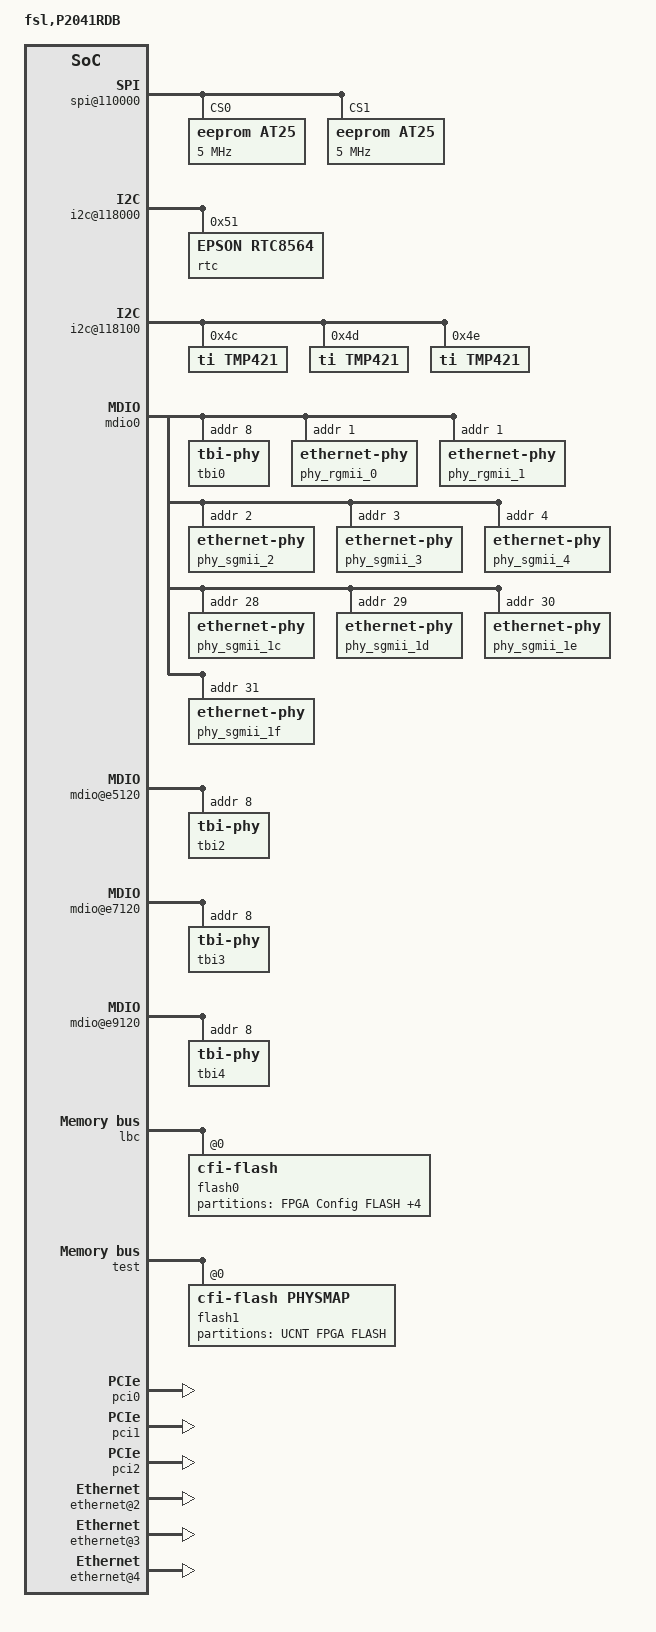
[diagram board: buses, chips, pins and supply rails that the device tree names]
/*
 * ULP (L100) Device Tree Source
 *
 * Copyright 2011-2012 Freescale Semiconductor Inc.
 *
 * Redistribution and use in source and binary forms, with or without
 * modification, are permitted provided that the following conditions are met:
 *     * Redistributions of source code must retain the above copyright
 *	 notice, this list of conditions and the following disclaimer.
 *     * Redistributions in binary form must reproduce the above copyright
 *	 notice, this list of conditions and the following disclaimer in the
 *	 documentation and/or other materials provided with the distribution.
 *     * Neither the name of Freescale Semiconductor nor the
 *	 names of its contributors may be used to endorse or promote products
 *	 derived from this software without specific prior written permission.
 *
 *
 * ALTERNATIVELY, this software may be distributed under the terms of the
 * GNU General Public License ("GPL") as published by the Free Software
 * Foundation, either version 2 of that License or (at your option) any
 * later version.
 *
 * THIS SOFTWARE IS PROVIDED BY Freescale Semiconductor ``AS IS'' AND ANY
 * EXPRESS OR IMPLIED WARRANTIES, INCLUDING, BUT NOT LIMITED TO, THE IMPLIED
 * WARRANTIES OF MERCHANTABILITY AND FITNESS FOR A PARTICULAR PURPOSE ARE
 * DISCLAIMED. IN NO EVENT SHALL Freescale Semiconductor BE LIABLE FOR ANY
 * DIRECT, INDIRECT, INCIDENTAL, SPECIAL, EXEMPLARY, OR CONSEQUENTIAL DAMAGES
 * (INCLUDING, BUT NOT LIMITED TO, PROCUREMENT OF SUBSTITUTE GOODS OR SERVICES;
 * LOSS OF USE, DATA, OR PROFITS; OR BUSINESS INTERRUPTION) HOWEVER CAUSED AND
 * ON ANY THEORY OF LIABILITY, WHETHER IN CONTRACT, STRICT LIABILITY, OR TORT
 * (INCLUDING NEGLIGENCE OR OTHERWISE) ARISING IN ANY WAY OUT OF THE USE OF THIS
 * SOFTWARE, EVEN IF ADVISED OF THE POSSIBILITY OF SUCH DAMAGE.
 */

/include/ "fsl/p2041si-pre.dtsi"

/ {
	model = "fsl,P2041RDB";
	compatible = "fsl,P2041RDB";
	#address-cells = <2>;
	#size-cells = <2>;
	interrupt-parent = <&mpic>;

	aliases {
	pci0 = &pci0;
        pci1 = &pci1;
        msi0 = &msi0;
        msi1 = &msi1;
        msi2 = &msi2;
        
//		ethernet0 = &enet0;
//		ethernet1 = &enet1;
		ethernet2 = &enet2;
		ethernet3 = &enet3;
		ethernet4 = &enet4;
//		ethernet5 = &enet5;
		phy_rgmii_0 = &phy_rgmii_0;
//		phy_rgmii_1 = &phy_rgmii_1;
		phy_sgmii_2 = &phy_sgmii_2;
		phy_sgmii_3 = &phy_sgmii_3;
//		phy_sgmii_4 = &phy_sgmii_4;
//		phy_sgmii_1c = &phy_sgmii_1c;
//		phy_sgmii_1d = &phy_sgmii_1d;
//		phy_sgmii_1e = &phy_sgmii_1e;
//		phy_sgmii_1f = &phy_sgmii_1f;
//		phy_xgmii_2 = &phy_xgmii_2;
	};

	memory {
		device_type = "memory";
	};

	dcsr: dcsr@fc0000000 {
		ranges = <0x00000000 0xf 0xc0000000 0x01008000>;
	};

	bportals: bman-portals@fc1000000 {
		ranges = <0x0 0xf 0xc1000000 0x2000000>;
	};

	qportals: qman-portals@fc3000000 {
		ranges = <0x0 0xf 0xc3000000 0x2000000>;
	};

	soc: soc@ffe000000 {
		ranges = <0x00000000 0xf 0xfe000000 0x1000000>;
		reg = <0xf 0xfe000000 0 0x00001000>;

		spi@110000 {
                        #address-cells = <1>;
                        #size-cells = <0>;
                        compatible = "fsl,p2040-espi", "fsl,mpc8536-espi";
                        reg = <0x110000 0x30>;
                        //interrupts = <53 0x2 0 0>;
                        fsl,espi-num-chipselects = <4>;
                        eeprom@0 {
                                compatible = "eeprom,at25";
                                spi-max-frequency = <5000000>;
                                reg = <0>;
                                size = <8192>;
                                byte-len = <8192>;
                                addr-mode = <2>;
                                pagesize = <32>;
                                address-width = <8>;
                                #address-cells = <1>;
                                #size-cells = <1>;
                        };
                        eeprom@1 {
                                compatible = "eeprom,at25";
                                spi-max-frequency = <5000000>;
                                reg = <1>;
                                size = <8192>;
                                byte-len = <8192>;
                                addr-mode = <2>;
                                pagesize = <32>;
                                address-width = <8>;
                                #address-cells = <1>;
                                #size-cells = <1>;
                        };
		};
		i2c@118000 {
                        rtc@51 {
                                compatible = "EPSON,rtc8564";
                                reg = <0x51>;
                                interrupts = <0x1 0x1 0 0>;
                        };
		};

		i2c@118100 {
                        tmp421@4c {
                                compatible = "ti,tmp421";
                                reg = <0x4c>;
                        };
                        tmp421@4d {
                                compatible = "ti,tmp421";
                                reg = <0x4d>;
                        };
                        tmp421@4e {
                                compatible = "ti,tmp421";
                                reg = <0x4e>;
                        };
		};

		usb1: usb@211000 {
			dr_mode = "host";
		};

		fman0: fman@400000 {
//			enet0: ethernet@e0000 {
//				tbi-handle = <&tbi0>;
//				phy-handle = <&phy_sgmii_2>;
//				phy-connection-type = "sgmii";
//			};

			mdio0: mdio@e1120 {
				tbi0: tbi-phy@8 {
					reg = <0x8>;
					device_type = "tbi-phy";
				};

				phy_rgmii_0: ethernet-phy@0x000001 {
					reg = <0x000001>;
				};
				phy_rgmii_1: ethernet-phy@1 {
					reg = <0x1>;
				};
				phy_sgmii_2: ethernet-phy@2 {
					reg = <0x2>;
				};
				phy_sgmii_3: ethernet-phy@3 {
					reg = <0x3>;
				};
				phy_sgmii_4: ethernet-phy@4 {
					reg = <0x4>;
				};
				phy_sgmii_1c: ethernet-phy@1c {
					reg = <0x1c>;
				};
				phy_sgmii_1d: ethernet-phy@1d {
					reg = <0x1d>;
				};
				phy_sgmii_1e: ethernet-phy@1e {
					reg = <0x1e>;
				};
				phy_sgmii_1f: ethernet-phy@1f {
					reg = <0x1f>;
				};
			};

//			enet1: ethernet@e2000 {
//				tbi-handle = <&tbi1>;
//				phy-handle = <&phy_sgmii_3>;
//				phy-connection-type = "sgmii";
//			};

//			mdio@e3120 {
//				tbi1: tbi-phy@8 {
//					reg = <8>;
//					device_type = "tbi-phy";
//				};
//			};

			enet2: ethernet@e4000 {
				tbi-handle = <&tbi2>;
				phy-handle = <&phy_sgmii_2>;
				phy-connection-type = "sgmii";
			};

			mdio@e5120 {
				tbi2: tbi-phy@8 {
					reg = <8>;
					device_type = "tbi-phy";
				};
			};

			enet3: ethernet@e6000 {
				tbi-handle = <&tbi3>;
				phy-handle = <&phy_sgmii_3>;
				phy-connection-type = "sgmii";
			};

			mdio@e7120 {
				tbi3: tbi-phy@8 {
					reg = <8>;
					device_type = "tbi-phy";
				};
			};

			enet4: ethernet@e8000 {
				tbi-handle = <&tbi4>;
				phy-handle = <&phy_rgmii_0>;
				phy-connection-type = "rgmii";
			};

			mdio@e9120 {
				tbi4: tbi-phy@8 {
					reg = <8>;
					device_type = "tbi-phy";
				};
			};

//			enet5: ethernet@f0000 {
//				/*
//				 * phy-handle will be updated by U-Boot to
//				 * reflect the actual slot the XAUI card is in.
//				 */
//				phy-handle = <&phy_rgmii_0>;
//				phy-connection-type = "rgmii";
//			};
//
//			mdio@f1000 {
//				/* XAUI card in slot 2 */
//				phy_xgmii_2: ethernet-phy@0 {
//					compatible = "ethernet-phy-ieee802.3-c45";
//					reg = <0x0>;
//				};
//			};

		};
		cpu-irq0@0 {
			compatible = "cpu-irq_irq00";
			reg = <0 0>;
			interrupts = <0 1 0 0>;
		};
		cpu-irq1@0 {
			compatible = "cpu-irq_irq01";
			reg = <0 0>;
			interrupts = <1 1 0 0>;
		};
		cpu-irq2@0 {
			compatible = "cpu-irq_irq02";
			reg = <0 0>;
			interrupts = <2 1 0 0>;
		};
		cpu-irq3@0 {
			compatible = "cpu-irq_irq03";
			reg = <0 0>;
			interrupts = <3 1 0 0>;
		};
		cpu-irq4@0 {
			compatible = "cpu-irq_irq04";
			reg = <0 0>;
			interrupts = <4 1 0 0>;
		};
		cpu-irq5@0 {
			compatible = "cpu-irq_irq05";
			reg = <0 0>;
			interrupts = <5 1 0 0>;
		};
		cpu-irq10@0 {
			compatible = "cpu-irq_irq10";
			reg = <0 0>;
			interrupts = <10 1 0 0>;
		};
		cpu-irq11@0 {
			compatible = "cpu-irq_irq11";
			reg = <0 0>;
			interrupts = <11 1 0 0>;
		};
		cpu-irq16@16 {
			compatible = "cpu-errirq";
			reg = <0 0>;
			interrupts = <16 2 1 13>;
		};
	};

	lbc: localbus@ffe124000 {
		reg = <0xf 0xfe124000 0 0x1000>;
		ranges = <0 0 0xf 0xf4000000 0x08000000>;  /* FPGA Config FLASH (64MB) */

                // UBoot Env is at 0xf7f60000 +20000
                // 0x03f60000
                // UBoot is at 0xf7f80000 +80000
                // 0x03f80000
		flash0@0,0 {
			#address-cells = <1>;
			#size-cells = <1>;
			compatible = "cfi-flash";
                        reg = <0 0 0x08000000>;
			bank-width = <2>;
			device-width = <2>;
			
			partition@0 {
				label = "FPGA Config FLASH";
				reg = <0x0 0x03F00000>;
			};
			partition@1 {
				label = "UBoot Environment";
				reg = <0x03F60000 0x20000>;
			};
			partition@2 {
				label = "UBoot Image";
				reg = <0x03F80000 0x80000>;
			};
			partition@3 {
				label = "Unused2";
				reg = <0x03F20000 0x10000>;
			};
			partition@4 {
				label = "MTD OOPS";
				reg = <0x03F00000 0x40000>;
			};
		};
	};

	test: localbus@0 {
//		reg = <0xf 0xfe124000 0 0x1000>;
		ranges = <0 0 0xC 0xA5000000 0x08000000>;  /* UCNT Flash */

		flash1@1,0 {
			#address-cells = <1>;
			#size-cells = <1>;
			compatible = "cfi-flash,physmap";
                        reg = <0 0 0x08000000>;
			bank-width = <2>;
			device-width = <2>;
			
			partition@0 {
				label = "UCNT FPGA FLASH";
				reg = <0x0 0x03F00000>;
			};
		};
	};
	
	// PCI#0 - CDEC
	pci0: pcie@ffe200000 {
                 compatible = "fsl,p2040-pcie", "fsl,qoriq-pcie-v2.2";
                 device_type = "pci";
                 #size-cells = <2>;
                 #address-cells = <3>;
                 bus-range = <0x0 0x10>;
                 clock-frequency = <0x7F28154>;
                 reg = <0xf 0xfe200000 0 0x1000>;
		         ranges = <0x02010000 0x0 0x80000000 0xc 0x80000000 0x0 0x10000000 
		                   0x01010000 0x0 0x00000000 0x0 0xf8000000 0x0 0x00010000>;
                 pcie@0 {
                         reg = <0 0 0 0 0>;
                         #size-cells = <2>;
                         #address-cells = <3>;
                         device_type = "pci";
                         ranges = <0x02010000 0x0 0x80000000 0x02010000 0x0 0x80000000 0x0 0x02000000
                                   0x01010000 0x0 0x00000000 0x01010000 0x0 0x00000000 0x0 0x00010000>;
                 };
        };	

        // PCI#1 - L2SW
	pci1: pcie@ffe201000 {
                 compatible = "fsl,p2040-pcie", "fsl,qoriq-pcie-v2.2";
                 device_type = "pci";
                 #size-cells = <2>;
                 #address-cells = <3>;
                 bus-range = <0x0 0xff>;
                 clock-frequency = <0x7F28154>;
                 reg = <0xf 0xfe201000 0 0x1000>;
		         ranges = <0x02000000 0x0 0xa0000000 0xc 0xa0000000 0x0 0x10000000 
		                   0x01000000 0x0 0x00000000 0xf 0xf8010000 0x0 0x00010000>;
                 pcie@0 {
                         reg = <0 0 0 0 0>;
                         #interrupt-cells = <1>;
                         #size-cells = <2>;
                         #address-cells = <3>;
                         device_type = "pci";
                         ranges = <0x02042000 0x0 0xa0000000 0x02042000 0x0 0xA0000000 0x0 0x04000000 
                                   0x01042000 0x0 0x00000000 0x01042000 0x0 0x00000000 0x0 0x00010000>;
                 };
        };	

 	// PCI#2 - MDEC
	pci2: pcie@ffe202000 {
                 compatible = "fsl,p2040-pcie", "fsl,qoriq-pcie-v2.2";
                 device_type = "pci";
                 #size-cells = <2>;
                 #address-cells = <3>;
                 bus-range = <0x0 0xff>;
                 clock-frequency = <0x7F28154>;
                 reg = <0xf 0xfe202000 0 0x1000>;
		         ranges = <0x02100000 0x0 0x90000000 0xc 0x90000000 0x0 0x10000000 
		                   0x01100000 0x0 0x00000000 0x0 0xf8020000 0x0 0x00010000>;
                 pcie@0 {
                         reg = <0 0 0 0 0>;
                         #interrupt-cells = <1>;
                         #size-cells = <2>;
                         #address-cells = <3>;
                         device_type = "pci";
                         ranges = <0x02100000 0x0 0x90000000 0x02100000 0x0 0x90000000 0x0 0x10000000
                                   0x01100000 0x0 0x00000000 0x01100000 0x0 0x00000000 0x0 0x00010000>;
                 };
        };	


	fsl,dpaa {
		compatible = "fsl,p2041-dpaa", "fsl,dpaa";

//		ethernet@0 {
//			compatible = "fsl,p2041-dpa-ethernet", "fsl,dpa-ethernet";
//			fsl,fman-mac = <&enet0>;
//		};
//		ethernet@1 {
//			compatible = "fsl,p2041-dpa-ethernet", "fsl,dpa-ethernet";
//			fsl,fman-mac = <&enet1>;
//		};
		ethernet@2 {
			compatible = "fsl,p2041-dpa-ethernet", "fsl,dpa-ethernet";
			fsl,fman-mac = <&enet2>;
		};
		ethernet@3 {
			compatible = "fsl,p2041-dpa-ethernet", "fsl,dpa-ethernet";
			fsl,fman-mac = <&enet3>;
		};
		ethernet@4 {
			compatible = "fsl,p2041-dpa-ethernet", "fsl,dpa-ethernet";
			fsl,fman-mac = <&enet4>;
		};
//		ethernet@5 {
//			compatible = "fsl,p2041-dpa-ethernet", "fsl,dpa-ethernet";
//			fsl,fman-mac = <&enet5>;
//		};
	};
};

/include/ "fsl/p2041si-post.dtsi"
/include/ "fsl/qoriq-dpaa-res1.dtsi"
